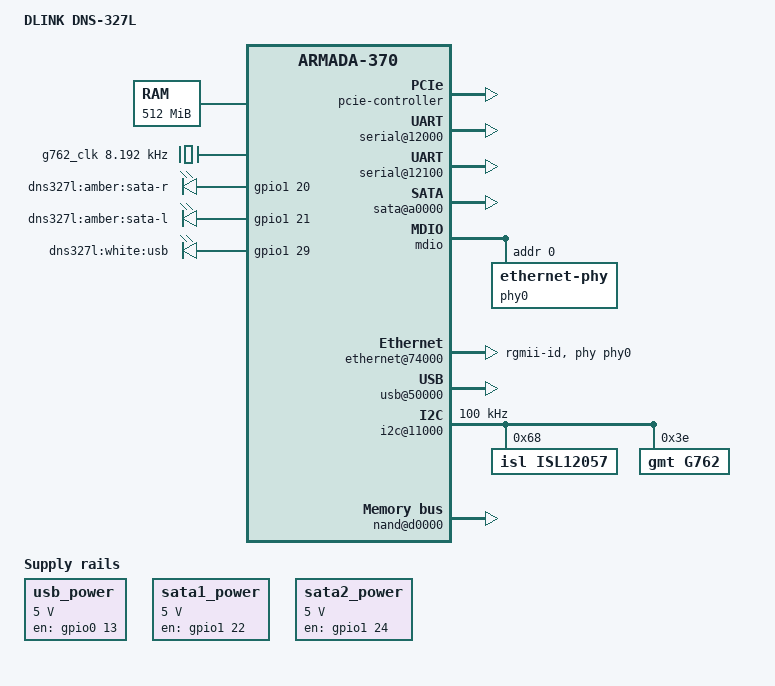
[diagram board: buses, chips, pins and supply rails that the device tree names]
/*
 * Device Tree file for DLINK DNS-327L
 *
 * Copyright (C) 2014, Andrew 'Necromant' Andrianov <andrew@ncrmnt.org>
 *
 * This program is free software; you can redistribute it and/or
 * modify it under the terms of the GNU General Public License
 * as published by the Free Software Foundation; either version
 * 2 of the License, or (at your option) any later version.
 */

 /* A small TODO list: 
  * * There's still something unknown on i2c address 0x13
  * * 
  */

/dts-v1/;

#include <dt-bindings/input/input.h>
#include <dt-bindings/gpio/gpio.h>
#include "armada-370.dtsi"

/ {
	model = "DLINK DNS-327L";
	compatible = "dlink,dns327l", "marvell,armada370", "marvell,armada-370-xp";

	chosen {
		bootargs = "console=ttyS0,115200 earlyprintk";
	};

	memory {
		device_type = "memory";
		reg = <0x00000000 0x20000000>; /* 512 MB */
	};

	soc {
		ranges = <MBUS_ID(0xf0, 0x01) 0 0xd0000000 0x100000
			  MBUS_ID(0x01, 0xe0) 0 0xfff00000 0x100000>;

		pcie-controller {
			status = "okay";

			/* Connected to Marvell SATA controller */
			pcie@1,0 {
				/* Port 0, Lane 0 */
				status = "okay";
			};

			/* Connected to NEC USB 3.0 controller */
			pcie@2,0 {
				/* Port 1, Lane 0 */
				status = "okay";
			};
		};

		internal-regs {
			serial@12000 {
				status = "okay";
			};

			serial@12100 {
				status = "okay";
			};

			sata@a0000 {
				nr-ports = <2>;
				status = "okay";
			};

			pinctrl {
				sata1_white_pin: sata1-white-pin {
					marvell,pins = "mpp55";
					marvell,function = "sata1";
				};

				sata_r_amber_pin: sata-r-amber-pin {
					marvell,pins = "mpp52";
					marvell,function = "gpio";
				};

				sata2_white_pin: sata2-white-pin {
					marvell,pins = "mpp57";
					marvell,function = "sata0";
				};

				sata_l_amber_pin: sata-l-amber-pin {
					marvell,pins = "mpp53";
					marvell,function = "gpio";
				};

				backup_led_pin: backup-led-pin {
					marvell,pins = "mpp61";
					marvell,function = "gpo";
				};

				xhci_pwr_pin: xhci-pwr-pin {
					marvell,pins = "mpp13";
					marvell,function = "gpio";
				};

				sata1_pwr_pin: sata1-pwr-pin {
					marvell,pins = "mpp54";
					marvell,function = "gpio";
				};

				sata2_pwr_pin: sata2-pwr-pin {
					marvell,pins = "mpp56";
					marvell,function = "gpio";
				};

/*
	Looks like some bug in drivers or something. 
	can request these pins in userspace and read values, 
	but gpio-keys fail to request them
				backup_button_pin: backup-button-pin {
					marvell,pins = "mpp63";
					marvell,function = "gpo";
				};

				reset_button_pin: reset-button-pin {
					marvell,pins = "mpp64";
					marvell,function = "gpio";
				};
*/
			};

			mdio {
				phy0: ethernet-phy@0 { /* Marvell 88E1318 */
					reg = <0>;
				};
			};

			ethernet@74000 {
				status = "okay";
				phy = <&phy0>;
				phy-mode = "rgmii-id";
			};

			usb@50000 {
				status = "okay";
			};

			i2c@11000 {
				compatible = "marvell,mv64xxx-i2c";
				clock-frequency = <100000>;
				status = "okay";

				isl12057: isl12057@68 {
					compatible = "isl,isl12057";
					reg = <0x68>;
				};

				g762: g762@3e {
					compatible = "gmt,g762";
					reg = <0x3e>;
					clocks = <&g762_clk>; /* input clock */
					fan_gear_mode = <0>;
					fan_startv = <1>;
					pwm_polarity = <0>;
				};
			};

			nand@d0000 {
				status = "okay";
				num-cs = <1>;
				marvell,nand-keep-config;
				marvell,nand-enable-arbiter;
				nand-on-flash-bbt;

				partition@0 {
					label = "u-boot";
					reg = <0x0000000 0x180000>;  /* 1.5MB */
					read-only;
				};

				partition@180000 {
					label = "u-boot-env";
					reg = <0x180000 0x20000>;    /* 128KB */
					read-only;
				};

				partition@200000 {
					label = "uImage";
					reg = <0x0200000 0x600000>;    /* 6MB */
				};

				partition@800000 {
					label = "minirootfs";
					reg = <0x0800000 0x400000>;    /* 4MB */
				};

				/* Last MB is for the BBT, i.e. not writable */
				partition@c00000 {
					label = "ubifs";
					reg = <0x0c00000 0x7400000>; /* 116MB */
				};
			};
		};
	};

	clocks {
	       g762_clk: g762-oscillator {
			 compatible = "fixed-clock";
			 #clock-cells = <0>;
			 clock-frequency = <8192>;
	       };
	};

	gpio-leds {
		compatible = "gpio-leds";
		pinctrl-0 = <
			     &sata_l_amber_pin
			     &sata_r_amber_pin
			     &backup_led_pin>;

		pinctrl-names = "default";

		sata-r-amber-pin {
			label = "dns327l:amber:sata-r";
			gpios = <&gpio1 20 GPIO_ACTIVE_HIGH>;
			default-state = "keep";
		};

		sata-l-amber-pin {
			label = "dns327l:amber:sata-l";
			gpios = <&gpio1 21 GPIO_ACTIVE_HIGH>;
			default-state = "keep";
		};

		backup-led-pin {
			label = "dns327l:white:usb";
			gpios = <&gpio1 29 GPIO_ACTIVE_HIGH>;
			default-state = "keep";
		};

	};

        regulators {
                compatible = "simple-bus";
                #address-cells = <1>;
                #size-cells = <0>;
                pinctrl-0 = <&xhci_pwr_pin
			     &sata1_pwr_pin
			     &sata2_pwr_pin>;

                pinctrl-names = "default";

                usb_power: regulator@1 {
                        compatible = "regulator-fixed";
                        reg = <1>;
                        regulator-name = "USB3.0 Port Power";
                        regulator-min-microvolt = <5000000>;
                        regulator-max-microvolt = <5000000>;
                        enable-active-high;
                        regulator-boot-on;
			regulator-always-on;
                        gpio = <&gpio0 13 GPIO_ACTIVE_HIGH>;
                };

                sata1_power: regulator@2 {
                        compatible = "regulator-fixed";
                        reg = <1>;
                        regulator-name = "SATA-1 Power";
                        regulator-min-microvolt = <5000000>;
                        regulator-max-microvolt = <5000000>;
                        enable-active-high;
			regulator-always-on;
                        gpio = <&gpio1 22 GPIO_ACTIVE_HIGH>;
                };

                sata2_power: regulator@3 {
                        compatible = "regulator-fixed";
                        reg = <1>;
                        regulator-name = "SATA-2 Power";
                        regulator-min-microvolt = <5000000>;
                        regulator-max-microvolt = <5000000>;
                        enable-active-high;
			regulator-always-on;
                        gpio = <&gpio1 24 GPIO_ACTIVE_HIGH>;
                };		
        };


};
